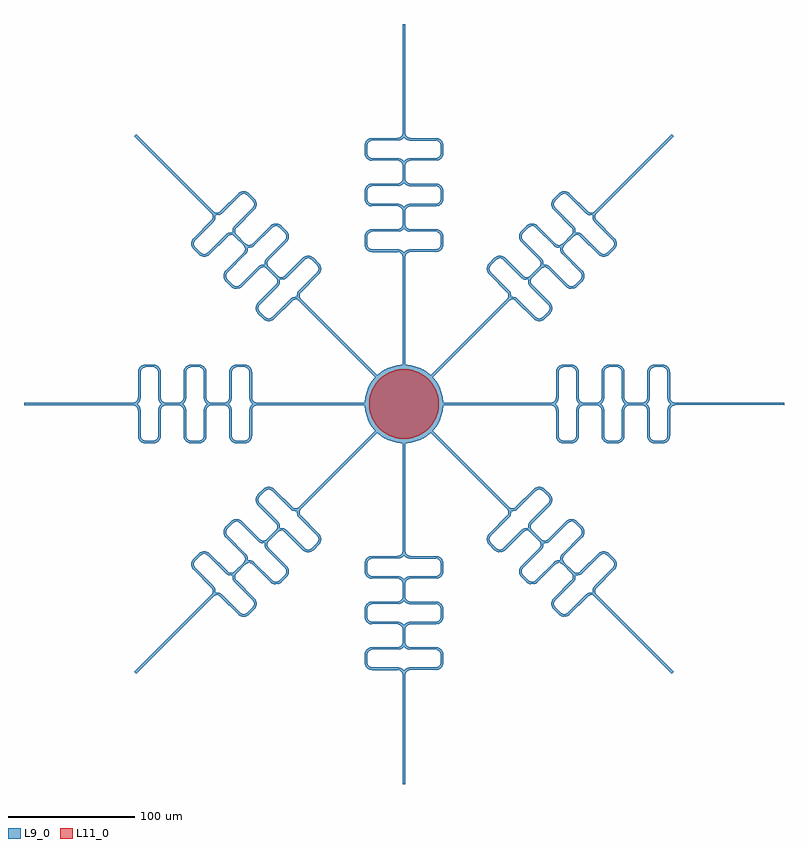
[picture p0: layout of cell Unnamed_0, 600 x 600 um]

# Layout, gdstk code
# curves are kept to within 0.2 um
from math import pi, radians
import gdstk
lib = gdstk.Library(unit=1e-6, precision=1e-09)
def P(c, l, *ps):  # polygons
    for p in ps: c.add(gdstk.Polygon(p, *l))
L9_0 = (9, 0)
L11_0 = (11, 0)

circle_r27p5_ar2p5_l11_0 = lib.new_cell('circle_R27p5_AR2p5_L11_0')
P(circle_r27p5_ar2p5_l11_0, L11_0, [(0,-27.5),(-5.952,-26.848),(-10.524,-25.407),(-15.773,-22.527),(-19.445,-19.445),(-22.527,-15.773),(-25.407,-10.524),(-26.848,-5.952),(-27.5,0),(-26.848,5.952),(-25.407,10.524),(-22.527,15.773),(-19.445,19.445),(-15.773,22.527),(-10.524,25.407),(-5.952,26.848),(0,27.5),(5.952,26.848),(10.524,25.407),(15.773,22.527),(19.445,19.445),(22.527,15.773),(25.407,10.524),(26.848,5.952),(27.5,0),(26.848,-5.952),(25.407,-10.524),(22.527,-15.773),(19.445,-19.445),(15.773,-22.527),(10.524,-25.407),(5.952,-26.848)])

circle_r31_ar2p5_l9_0 = lib.new_cell('circle_R31_AR2p5_L9_0')
P(circle_r31_ar2p5_l9_0, L9_0, [(0,-31),(-5.383,-30.529),(-11.863,-28.64),(-17.781,-25.394),(-21.92,-21.92),(-25.394,-17.781),(-28.64,-11.863),(-30.529,-5.383),(-31,0),(-30.529,5.383),(-28.64,11.863),(-25.394,17.781),(-21.92,21.92),(-17.781,25.394),(-11.863,28.64),(-5.383,30.529),(0,31),(5.383,30.529),(11.863,28.64),(17.781,25.394),(21.92,21.92),(25.394,17.781),(28.64,11.863),(30.529,5.383),(31,0),(30.529,-5.383),(28.64,-11.863),(25.394,-17.781),(21.92,-21.92),(17.781,-25.394),(11.863,-28.64),(5.383,-30.529)])

unnamed_6 = lib.new_cell('Unnamed_6')
P(unnamed_6, L9_0, [(95.987,-31),(93.85,-30.602),(92.224,-29.663),(90.968,-28.268),(90.204,-26.553),(89.978,-4.582),(89.108,-2.483),(87.236,-1.196),(0,-1),(0,1),(86.013,1),(87.854,0.707),(89.268,0.032),(90.459,-0.985),(91.482,-2.559),(91.926,-4.061),(92.137,-26.035),(92.764,-27.351),(93.649,-28.236),(96.013,-29),(102.832,-28.912),(104.351,-28.236),(105.564,-26.816),(106,-24.987),(106.131,-3.752),(106.654,-2.276),(107.757,-0.757),(109.276,0.346),(111.061,0.926),(122.939,0.926),(125.268,0.032),(126.854,-1.473),(127.707,-3.146),(127.992,-4.686),(128.088,-25.832),(128.536,-27),(129.483,-28.108),(130.764,-28.804),(132.013,-29),(139.035,-28.863),(140.517,-28.108),(141.654,-26.627),(142,-24.987),(142.033,-4.373),(142.518,-2.559),(143.757,-0.757),(145.559,0.482),(147.686,0.992),(158.314,0.992),(160.441,0.482),(162.663,-1.224),(163.482,-2.559),(163.926,-4.061),(164,-24.987),(164.346,-26.627),(165.483,-28.108),(166.965,-28.863),(173.987,-29),(176.351,-28.236),(177.236,-27.351),(177.863,-26.035),(178.074,-4.061),(178.518,-2.559),(179.541,-0.985),(180.732,0.032),(182.146,0.707),(183.987,1),(270,1),(270,-1),(182.764,-1.196),(180.892,-2.483),(180.022,-4.582),(179.796,-26.553),(179.032,-28.268),(177.776,-29.663),(176.15,-30.602),(174.013,-31),(167.686,-30.992),(166.146,-30.707),(163.985,-29.459),(162.518,-27.441),(162,-25.013),(161.978,-4.582),(161.236,-2.649),(159.816,-1.436),(158.209,-1.006),(147.791,-1.006),(146.184,-1.436),(145.028,-2.324),(144.346,-3.373),(144.006,-4.791),(144,-25.013),(143.482,-27.441),(142.015,-29.459),(139.854,-30.707),(138.314,-30.992),(131.987,-31),(129.85,-30.602),(128.224,-29.663),(126.968,-28.268),(126.131,-26.248),(125.994,-4.791),(125.236,-2.649),(124,-1.536),(122.418,-1.022),(111.374,-1.05),(109.172,-2.172),(108.05,-4.374),(107.992,-25.314),(107.346,-27.724),(105.776,-29.663),(103.553,-30.796)])

unnamed_5 = lib.new_cell('Unnamed_5')
P(unnamed_5, L9_0, [(0,-1),(0,1),(87.236,1.196),(89.108,2.483),(89.978,4.582),(90.204,26.553),(90.968,28.268),(92.224,29.663),(93.85,30.602),(95.987,31),(103.553,30.796),(105.776,29.663),(107.346,27.724),(107.992,25.314),(108.05,4.374),(108.536,3),(109.483,1.892),(110.764,1.196),(112.013,1),(122.626,1.05),(124.178,1.646),(125.354,2.822),(125.994,4.791),(126.131,26.248),(126.968,28.268),(128.224,29.663),(129.85,30.602),(131.987,31),(138.314,30.992),(139.854,30.707),(142.015,29.459),(143.482,27.441),(144,25.013),(144.006,4.791),(144.346,3.373),(145.028,2.324),(146.184,1.436),(147.791,1.006),(158.209,1.006),(159.627,1.346),(161.236,2.649),(161.978,4.582),(162.008,25.314),(162.804,28),(164.473,29.854),(166.752,30.869),(174.013,31),(175.854,30.707),(177.268,30.032),(178.459,29.015),(179.482,27.441),(179.926,25.939),(180.137,3.965),(180.764,2.649),(181.649,1.764),(184,1),(184,-1),(181.85,-0.602),(179.757,0.757),(178.293,3.146),(178,4.987),(177.978,25.418),(177.236,27.351),(175.816,28.564),(174.209,28.994),(167.374,28.95),(165.649,28.236),(164.436,26.816),(164,24.987),(163.992,4.686),(163.482,2.559),(162.459,0.985),(160.724,-0.346),(158.939,-0.926),(147.987,-1),(145.85,-0.602),(144.224,0.337),(142.968,1.732),(142.131,3.752),(142,24.987),(141.564,26.816),(140.351,28.236),(138.832,28.912),(132.013,29),(130.764,28.804),(129.483,28.108),(128.536,27),(128.088,25.832),(127.992,4.686),(127.707,3.146),(126.854,1.473),(125,-0.196),(122.627,-0.967),(111.987,-1),(110.146,-0.707),(108.732,-0.032),(107.541,0.985),(106.518,2.559),(106.074,4.061),(106,24.987),(105.654,26.627),(104.517,28.108),(103.035,28.863),(96.013,29),(93.649,28.236),(92.764,27.351),(92.137,26.035),(91.926,4.061),(91.482,2.559),(90.459,0.985),(89.268,-0.032),(87.854,-0.707),(86.013,-1)])

unnamed_2 = lib.new_cell('Unnamed_2')
unnamed_2.add(gdstk.Reference(unnamed_6, (0,30), rotation=pi/2))
unnamed_2.add(gdstk.Reference(unnamed_5, (0,30), rotation=pi/2))

unnamed_0 = lib.new_cell('Unnamed_0')
unnamed_0.add(gdstk.Reference(circle_r27p5_ar2p5_l11_0, (0,0)))
unnamed_0.add(gdstk.Reference(circle_r31_ar2p5_l9_0, (0,0)))
unnamed_0.add(gdstk.Reference(unnamed_2, (0,0), rotation=3*pi/2))
unnamed_0.add(gdstk.Reference(unnamed_2, (0,0), rotation=radians(225)))
unnamed_0.add(gdstk.Reference(unnamed_2, (0,0), rotation=pi))
unnamed_0.add(gdstk.Reference(unnamed_2, (0,0), rotation=radians(135)))
unnamed_0.add(gdstk.Reference(unnamed_2, (0,0), rotation=pi/2))
unnamed_0.add(gdstk.Reference(unnamed_2, (0,0), rotation=radians(45)))
unnamed_0.add(gdstk.Reference(unnamed_2, (0,0), rotation=radians(315)))
unnamed_0.add(gdstk.Reference(unnamed_2, (0,0)))
unnamed_0.add(gdstk.Reference(unnamed_2, (0,0)))

lib.write_gds('Unnamed_0.gds')
